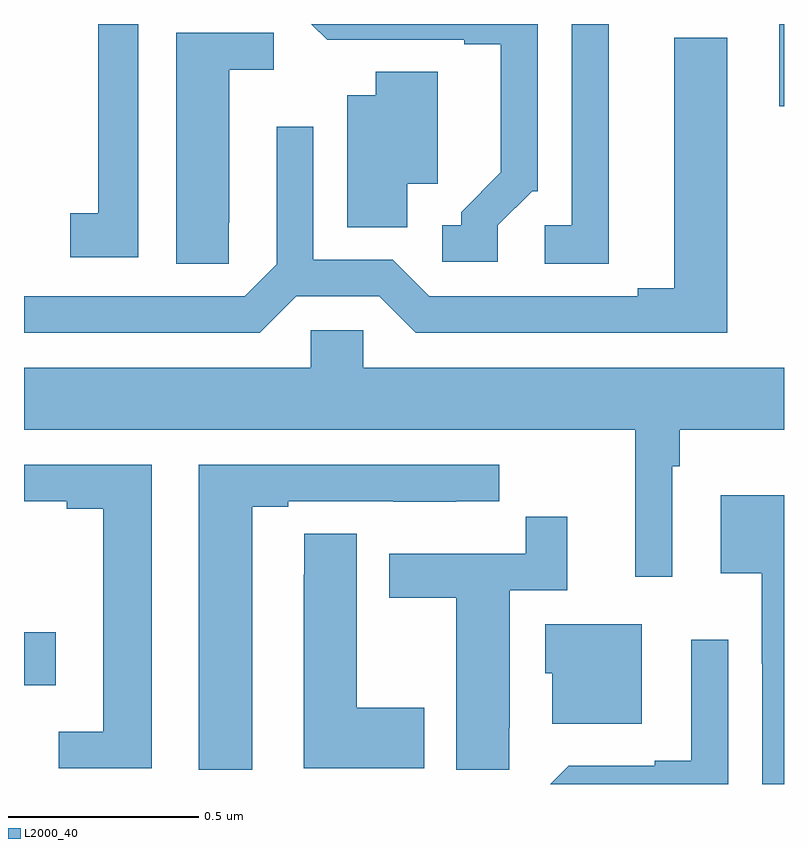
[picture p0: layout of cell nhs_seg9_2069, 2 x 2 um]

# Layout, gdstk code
import gdstk
lib = gdstk.Library(unit=1e-6, precision=1e-09)
def R(c, l, rs):  # rectangles x0, y0, x1, y1
    for r in rs: c.add(gdstk.rectangle(r[:2], r[2:], *l))
def P(c, l, *ps):  # polygons
    for p in ps: c.add(gdstk.Polygon(p, *l))
L2000_40 = (2000, 40)

nhs_seg9_2069 = lib.new_cell('nhs_seg9_2069')
R(nhs_seg9_2069, L2000_40, [(136,1183.76,136.084,1183.9), (137.987,1185.283,138,1185.5)])
P(nhs_seg9_2069, L2000_40, [(136.3,1185.5),(136.196,1185.5),(136.196,1185.002),(136.122,1185.002),(136.122,1184.886),(136.3,1184.886)],
  [(137.247,1184.97),(137.337,1185.06),(137.352,1185.06),(137.352,1185.5),(136.756,1185.5),(136.798,1185.458),(136.894,1185.458),(136.894,1185.459),(137.159,1185.459),(137.159,1185.447),(137.255,1185.447),(137.255,1185.11),(137.15,1185.005),(137.15,1184.97),(137.1,1184.97),(137.1,1184.874),(137.247,1184.874)],
  [(137.539,1185.5),(137.442,1185.5),(137.442,1184.97),(137.37,1184.97),(137.37,1184.869),(137.539,1184.869)],
  [(136.539,1184.977),(136.54,1184.977),(136.54,1185.38),(136.657,1185.38),(136.657,1185.477),(136.4,1185.477),(136.4,1184.869),(136.539,1184.869)],
  [(136.717,1184.784),(136.935,1184.784),(137.031,1184.688),(137.851,1184.688),(137.851,1185.356),(137.85,1185.356),(137.85,1185.464),(137.711,1185.464),(137.711,1184.804),(137.615,1184.804),(137.615,1184.784),(137.067,1184.784),(136.971,1184.88),(136.761,1184.88),(136.761,1185.229),(136.665,1185.229),(136.665,1184.868),(136.581,1184.784),(136,1184.784),(136,1184.688),(136.621,1184.688)],
  [(137.008,1185.08),(137.089,1185.08),(137.089,1185.374),(136.925,1185.374),(136.925,1185.313),(136.85,1185.313),(136.85,1184.965),(137.008,1184.965)],
  [(137.706,1184.336),(137.726,1184.336),(137.726,1184.432),(138,1184.432),(138,1184.596),(136.893,1184.596),(136.893,1184.694),(136.755,1184.694),(136.755,1184.596),(136,1184.596),(136,1184.432),(137.609,1184.432),(137.609,1184.046),(137.706,1184.046)],
  [(136.6,1184.229),(136.696,1184.229),(136.696,1184.244),(136.972,1184.244),(136.972,1184.243),(137.138,1184.243),(137.138,1184.244),(137.251,1184.244),(137.251,1184.34),(136.46,1184.34),(136.46,1183.537),(136.6,1183.537)],
  [(136.336,1184.34),(136,1184.34),(136,1184.244),(136.112,1184.244),(136.112,1184.224),(136.208,1184.224),(136.208,1183.638),(136.092,1183.638),(136.092,1183.542),(136.336,1183.542)],
  [(138,1184.26),(137.834,1184.26),(137.834,1184.054),(137.942,1184.054),(137.942,1183.816),(137.943,1183.816),(137.943,1183.5),(138,1183.5)],
  [(137.277,1183.648),(137.278,1183.648),(137.278,1184.01),(137.429,1184.01),(137.429,1184.203),(137.32,1184.203),(137.32,1184.106),(136.961,1184.106),(136.961,1183.99),(137.138,1183.99),(137.138,1183.537),(137.277,1183.537)],
  [(137.053,1183.701),(136.876,1183.701),(136.876,1184.159),(136.737,1184.159),(136.737,1184.051),(136.736,1184.051),(136.736,1183.541),(137.053,1183.541)],
  [(137.626,1183.921),(137.372,1183.921),(137.372,1183.791),(137.39,1183.791),(137.39,1183.658),(137.626,1183.658)],
  [(137.853,1183.879),(137.756,1183.879),(137.756,1183.561),(137.66,1183.561),(137.66,1183.548),(137.433,1183.548),(137.385,1183.5),(137.853,1183.5)])

lib.write_gds('nhs_seg9_2069.gds')
